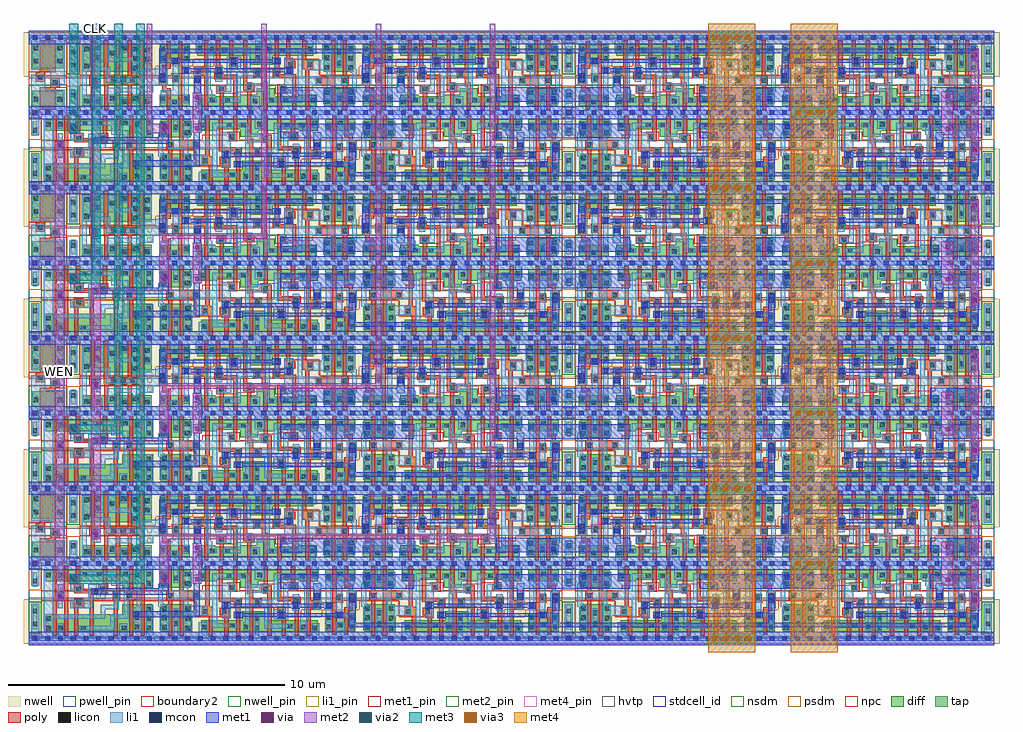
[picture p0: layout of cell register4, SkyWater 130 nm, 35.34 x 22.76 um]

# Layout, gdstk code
from math import pi, radians
import gdstk
lib = gdstk.Library(unit=1e-6, precision=1e-09)
def R(c, l, rs):  # rectangles x0, y0, x1, y1
    for r in rs: c.add(gdstk.rectangle(r[:2], r[2:], *l))
def A(c, l, x, y, w, h, nx, ny, dx, dy):  # array of equal rectangles
    R(c, l, [(x+i*dx, y+j*dy, x+i*dx+w, y+j*dy+h) for i in range(nx) for j in range(ny)])
def P(c, l, *ps):  # polygons
    for p in ps: c.add(gdstk.Polygon(p, *l))
nwell_pin = (64, 16)
nwell = (64, 20)
diff = (65, 20)
tap = (65, 44)
poly = (66, 20)
licon = (66, 44)
li1_pin = (67, 16)
li1 = (67, 20)
mcon = (67, 44)
met1_pin = (68, 16)
met1 = (68, 20)
via = (68, 44)
met2_pin = (69, 16)
met2 = (69, 20)
via2 = (69, 44)
met3 = (70, 20)
via3 = (70, 44)
met4_pin = (71, 16)
met4 = (71, 20)
hvtp = (78, 44)
stdcell_id = (81, 4)
nsdm = (93, 44)
psdm = (94, 20)
npc = (95, 20)
pwell_pin = (122, 16)
boundary2 = (236, 0)

sky130_fd_sc_hd__clkbuf_ = lib.new_cell('sky130_fd_sc_hd__clkbuf_4')
R(sky130_fd_sc_hd__clkbuf_, nwell_pin, [(0.145,2.635,0.315,2.805)])
R(sky130_fd_sc_hd__clkbuf_, nwell, [(-0.19,1.305,2.95,2.91)])
R(sky130_fd_sc_hd__clkbuf_, diff, [(0.135,0.235,2.615,0.655), (0.135,1.485,2.62,2.485)])
P(sky130_fd_sc_hd__clkbuf_, poly, [(2.325,1.185),(2.32,1.185),(2.32,2.615),(2.17,2.615),(2.17,1.295),(1.89,1.295),(1.89,2.615),(1.74,2.615),(1.74,1.295),(1.46,1.295),(1.46,2.615),(1.31,2.615),(1.31,1.295),(1.03,1.295),(1.03,2.615),(0.88,2.615),(0.88,1.05),(0.885,1.05),(0.885,0.105),(1.035,0.105),(1.035,1.02),(1.315,1.02),(1.315,0.105),(1.465,0.105),(1.465,1.02),(1.745,1.02),(1.745,0.105),(1.895,0.105),(1.895,1.02),(2.175,1.02),(2.175,0.105),(2.325,0.105)],
  [(0.645,1.325),(0.55,1.325),(0.55,2.615),(0.4,2.615),(0.4,1.325),(0.345,1.325),(0.345,0.995),(0.4,0.995),(0.4,0.105),(0.55,0.105),(0.55,0.995),(0.645,0.995)])
A(sky130_fd_sc_hd__clkbuf_, licon, 1.155, 1.075, 0.17, 0.17, 3, 1, 0.34, 0)
A(sky130_fd_sc_hd__clkbuf_, licon, 1.945, 1.535, 0.17, 0.17, 1, 3, 0, 0.34)
R(sky130_fd_sc_hd__clkbuf_, licon, [(0.605,0.315,0.775,0.485), (1.52,0.315,1.69,0.485), (2.38,0.315,2.55,0.485), (0.175,0.335,0.345,0.505), (1.09,0.425,1.26,0.595), (1.95,0.425,2.12,0.595), (0.425,1.075,0.595,1.245), (0.175,1.605,0.345,1.775), (2.375,1.845,2.545,2.015), (0.605,1.915,0.775,2.085), (1.085,2.08,1.255,2.25), (2.375,2.185,2.545,2.355), (0.175,2.215,0.345,2.385), (0.605,2.255,0.775,2.425), (1.515,2.255,1.685,2.425)])
R(sky130_fd_sc_hd__clkbuf_, li1_pin, [(0.605,0.765,0.775,0.935), (2.445,0.765,2.615,0.935), (0.605,1.105,0.775,1.275), (2.445,1.105,2.615,1.275), (1.985,1.445,2.155,1.615)])
R(sky130_fd_sc_hd__clkbuf_, li1, [(0.425,0.755,0.775,1.325)])
P(sky130_fd_sc_hd__clkbuf_, li1, [(2.76,0.085),(2.615,0.085),(2.615,0.565),(2.335,0.565),(2.335,0.085),(1.73,0.085),(1.73,0.565),(1.475,0.565),(1.475,0.085),(0.83,0.085),(0.83,0.565),(0.555,0.565),(0.555,0.085),(0,0.085),(0,-0.085),(2.76,-0.085)],
  [(2.66,1.585),(2.165,1.585),(2.165,2.465),(1.905,2.465),(1.905,2.005),(1.305,2.005),(1.305,2.465),(1.045,2.465),(1.045,1.835),(1.905,1.835),(1.905,1.415),(2.255,1.415),(2.255,0.905),(1.01,0.905),(1.01,0.345),(1.305,0.345),(1.305,0.735),(1.905,0.735),(1.905,0.345),(2.165,0.345),(2.165,0.735),(2.66,0.735)],
  [(2.085,1.245),(1.115,1.245),(1.115,1.665),(0.395,1.665),(0.395,2.465),(0.085,2.465),(0.085,0.255),(0.385,0.255),(0.385,0.585),(0.255,0.585),(0.255,1.495),(0.945,1.495),(0.945,1.075),(2.085,1.075)],
  [(2.76,2.805),(0,2.805),(0,2.635),(0.565,2.635),(0.565,1.835),(0.875,1.835),(0.875,2.635),(1.475,2.635),(1.475,2.175),(1.73,2.175),(1.73,2.635),(2.335,2.635),(2.335,1.765),(2.62,1.765),(2.62,2.635),(2.76,2.635)])
A(sky130_fd_sc_hd__clkbuf_, mcon, 0.145, -0.085, 0.17, 0.17, 6, 2, 0.46, 2.72)
R(sky130_fd_sc_hd__clkbuf_, met1_pin, [(0.145,-0.085,0.315,0.085), (0.145,2.635,0.315,2.805)])
R(sky130_fd_sc_hd__clkbuf_, hvtp, [(0,1.25,2.76,2.72)])
R(sky130_fd_sc_hd__clkbuf_, stdcell_id, [(0,0,2.76,2.72)])
R(sky130_fd_sc_hd__clkbuf_, nsdm, [(0,-0.19,2.76,1.015)])
R(sky130_fd_sc_hd__clkbuf_, psdm, [(0,1.355,2.76,2.91)])
R(sky130_fd_sc_hd__clkbuf_, npc, [(0,0.975,2.76,1.345)])
R(sky130_fd_sc_hd__clkbuf_, pwell_pin, [(0.145,-0.085,0.315,0.085)])
R(sky130_fd_sc_hd__clkbuf_, boundary2, [(0,0,2.76,2.72)])
sky130_fd_sc_hd__clkbuf_.add(gdstk.FlexPath([(0,0),(2.76,0)], 0.48, ends="flush", simple_path=True, layer=68, datatype=20))  # met1
sky130_fd_sc_hd__clkbuf_.add(gdstk.FlexPath([(0,2.72),(2.76,2.72)], 0.48, ends="flush", simple_path=True, layer=68, datatype=20))  # met1
sky130_fd_sc_hd__clkbuf_.add(gdstk.Label('X', (2.07,1.53), layer=67, texttype=5))
sky130_fd_sc_hd__clkbuf_.add(gdstk.Label('A', (0.69,0.85), layer=67, texttype=5))
sky130_fd_sc_hd__clkbuf_.add(gdstk.Label('X', (2.53,0.85), layer=67, texttype=5))
sky130_fd_sc_hd__clkbuf_.add(gdstk.Label('A', (0.69,1.19), layer=67, texttype=5))
sky130_fd_sc_hd__clkbuf_.add(gdstk.Label('X', (2.53,1.19), layer=67, texttype=5))
sky130_fd_sc_hd__clkbuf_.add(gdstk.Label('VGND', (0.23,0), layer=68, texttype=5))
sky130_fd_sc_hd__clkbuf_.add(gdstk.Label('VPWR', (0.23,2.72), layer=68, texttype=5))
sky130_fd_sc_hd__clkbuf_.add(gdstk.Label('VPB', (0.23,2.72), layer=64, texttype=5))
sky130_fd_sc_hd__clkbuf_.add(gdstk.Label('VNB', (0.23,0), layer=64, texttype=59))
sky130_fd_sc_hd__clkbuf_.add(gdstk.Label('clkbuf_4', (0,0), layer=83, texttype=44))

sky130_fd_sc_hd__decap_3 = lib.new_cell('sky130_fd_sc_hd__decap_3')
R(sky130_fd_sc_hd__decap_3, nwell_pin, [(0.145,2.635,0.315,2.805)])
R(sky130_fd_sc_hd__decap_3, nwell, [(-0.19,1.305,1.57,2.91)])
R(sky130_fd_sc_hd__decap_3, diff, [(0.135,0.235,1.245,0.785), (0.135,1.615,1.245,2.485)])
P(sky130_fd_sc_hd__decap_3, poly, [(1.125,1.255),(0.795,1.255),(0.795,0.915),(0.395,0.915),(0.395,0.105),(0.985,0.105),(0.985,0.925),(1.125,0.925)],
  [(0.985,2.615),(0.395,2.615),(0.395,1.455),(0.255,1.455),(0.255,1.125),(0.585,1.125),(0.585,1.465),(0.985,1.465)])
R(sky130_fd_sc_hd__decap_3, licon, [(0.175,0.4,0.345,0.57), (1.035,0.4,1.205,0.57), (0.875,1.005,1.045,1.175), (0.335,1.205,0.505,1.375), (0.175,1.78,0.345,1.95), (1.035,1.78,1.205,1.95), (0.175,2.255,0.345,2.425), (1.035,2.255,1.205,2.425)])
P(sky130_fd_sc_hd__decap_3, li1, [(1.38,2.805),(0,2.805),(0,2.635),(0.085,2.635),(0.085,1.545),(0.775,1.545),(0.775,1.005),(1.295,1.005),(1.295,2.635),(1.38,2.635)],
  [(1.38,0.085),(1.295,0.085),(1.295,0.835),(0.605,0.835),(0.605,1.375),(0.085,1.375),(0.085,0.085),(0,0.085),(0,-0.085),(1.38,-0.085)])
A(sky130_fd_sc_hd__decap_3, mcon, 0.145, -0.085, 0.17, 0.17, 3, 2, 0.46, 2.72)
R(sky130_fd_sc_hd__decap_3, met1_pin, [(0.145,-0.085,0.315,0.085), (0.145,2.635,0.315,2.805)])
R(sky130_fd_sc_hd__decap_3, hvtp, [(0,1.25,1.38,2.72)])
R(sky130_fd_sc_hd__decap_3, stdcell_id, [(0,0,1.38,2.72)])
R(sky130_fd_sc_hd__decap_3, nsdm, [(0,-0.19,1.38,1.015)])
R(sky130_fd_sc_hd__decap_3, psdm, [(0,1.485,1.38,2.91)])
P(sky130_fd_sc_hd__decap_3, npc, [(1.38,1.345),(0.605,1.345),(0.605,1.475),(0,1.475),(0,0.975),(0.775,0.975),(0.775,0.905),(1.38,0.905)])
R(sky130_fd_sc_hd__decap_3, pwell_pin, [(0.145,-0.085,0.315,0.085)])
R(sky130_fd_sc_hd__decap_3, boundary2, [(0,0,1.38,2.72)])
sky130_fd_sc_hd__decap_3.add(gdstk.FlexPath([(0,2.72),(1.38,2.72)], 0.48, ends="flush", simple_path=True, layer=68, datatype=20))  # met1
sky130_fd_sc_hd__decap_3.add(gdstk.FlexPath([(0,0),(1.38,0)], 0.48, ends="flush", simple_path=True, layer=68, datatype=20))  # met1
sky130_fd_sc_hd__decap_3.add(gdstk.Label('VPWR', (0.23,2.72), layer=68, texttype=5))
sky130_fd_sc_hd__decap_3.add(gdstk.Label('VGND', (0.23,0), layer=68, texttype=5))
sky130_fd_sc_hd__decap_3.add(gdstk.Label('VPB', (0.23,2.72), layer=64, texttype=5))
sky130_fd_sc_hd__decap_3.add(gdstk.Label('VNB', (0.23,0), layer=64, texttype=59))
sky130_fd_sc_hd__decap_3.add(gdstk.Label('decap_3', (0,0), layer=83, texttype=44))

sky130_fd_sc_hd__dfxtp_1 = lib.new_cell('sky130_fd_sc_hd__dfxtp_1')
R(sky130_fd_sc_hd__dfxtp_1, nwell_pin, [(0.145,2.635,0.315,2.805), (0.145,2.635,0.315,2.805)])
R(sky130_fd_sc_hd__dfxtp_1, nwell, [(-0.19,1.305,7.55,2.91)])
R(sky130_fd_sc_hd__dfxtp_1, diff, [(0.135,0.235,1.225,0.655), (6.095,0.235,7.185,0.885), (6.075,1.485,7.175,2.485), (0.135,1.815,1.225,2.455)])
P(sky130_fd_sc_hd__dfxtp_1, diff, [(5.71,2.485),(1.495,2.485),(1.495,2.065),(3.395,2.065),(3.395,1.735),(4.23,1.735),(4.23,2.065),(5.71,2.065)],
  [(5.82,0.655),(5.16,0.655),(5.16,0.595),(4.3,0.595),(4.3,0.875),(3.65,0.875),(3.65,0.655),(3.055,0.655),(3.055,0.595),(2.155,0.595),(2.155,0.655),(1.495,0.655),(1.495,0.235),(5.82,0.235)])
P(sky130_fd_sc_hd__dfxtp_1, poly, [(3.54,1.065),(3.32,1.065),(3.32,2.615),(3.17,2.615),(3.17,0.795),(3.305,0.795),(3.305,0.105),(3.455,0.105),(3.455,0.795),(3.54,0.795)],
  [(2.545,1.005),(2.215,1.005),(2.215,0.735),(2.315,0.735),(2.315,0.105),(2.465,0.105),(2.465,0.735),(2.545,0.735)],
  [(1.905,2.615),(1.755,2.615),(1.755,1.665),(1.43,1.665),(1.43,1.335),(1.755,1.335),(1.755,0.105),(1.905,0.105)],
  [(2.96,1.365),(2.445,1.365),(2.445,1.485),(2.33,1.485),(2.33,2.615),(2.18,2.615),(2.18,1.485),(2.115,1.485),(2.115,1.215),(2.81,1.215),(2.81,0.105),(2.96,0.105)],
  [(2.96,1.905),(2.805,1.905),(2.805,2.615),(2.655,2.615),(2.655,1.575),(2.96,1.575)],
  [(5.7,1.905),(5.445,1.905),(5.445,2.615),(5.295,2.615),(5.295,1.575),(5.41,1.575),(5.41,0.105),(5.56,0.105),(5.56,1.575),(5.7,1.575)],
  [(5.05,1.875),(4.875,1.875),(4.875,2.615),(4.725,2.615),(4.725,1.875),(4.72,1.875),(4.72,1.605),(5.05,1.605)],
  [(0.965,2.585),(0.815,2.585),(0.815,1.37),(0.59,1.37),(0.59,1.1),(0.815,1.1),(0.815,0.105),(0.965,0.105)],
  [(5.085,1.395),(4.51,1.395),(4.51,1.575),(4.455,1.575),(4.455,2.615),(4.305,2.615),(4.305,1.575),(4.24,1.575),(4.24,1.245),(4.935,1.245),(4.935,0.105),(5.085,0.105)],
  [(0.545,0.88),(0.38,0.88),(0.38,1.59),(0.545,1.59),(0.545,2.585),(0.395,2.585),(0.395,1.74),(0.23,1.74),(0.23,1.325),(0.11,1.325),(0.11,0.995),(0.23,0.995),(0.23,0.73),(0.395,0.73),(0.395,0.105),(0.545,0.105)],
  [(6.985,1.325),(6.915,1.325),(6.915,2.615),(6.765,2.615),(6.765,1.325),(6.715,1.325),(6.715,0.995),(6.775,0.995),(6.775,0.105),(6.925,0.105),(6.925,0.995),(6.985,0.995)],
  [(6.505,1.325),(6.495,1.325),(6.495,2.615),(6.345,2.615),(6.345,1.325),(5.795,1.325),(5.795,0.995),(6.355,0.995),(6.355,0.105),(6.505,0.105)],
  [(4.725,1.035),(4.405,1.035),(4.405,0.105),(4.555,0.105),(4.555,0.705),(4.725,0.705)],
  [(4.05,1.1),(3.98,1.1),(3.98,2.615),(3.83,2.615),(3.83,1.545),(3.53,1.545),(3.53,1.275),(3.83,1.275),(3.83,0.95),(3.9,0.95),(3.9,0.105),(4.05,0.105)])
A(sky130_fd_sc_hd__dfxtp_1, licon, 6.115, 1.545, 0.17, 0.17, 1, 3, 0, 0.355)
A(sky130_fd_sc_hd__dfxtp_1, licon, 6.965, 1.545, 0.17, 0.17, 1, 3, 0, 0.34)
R(sky130_fd_sc_hd__dfxtp_1, licon, [(0.595,0.295,0.765,0.465), (1.535,0.295,1.705,0.465), (6.135,0.3,6.305,0.47), (6.975,0.31,7.145,0.48), (3.51,0.335,3.68,0.505), (1.96,0.365,2.13,0.535), (2.515,0.365,2.685,0.535), (4.105,0.365,4.275,0.535), (4.62,0.365,4.79,0.535), (5.61,0.365,5.78,0.535), (0.175,0.425,0.345,0.595), (1.015,0.425,1.185,0.595), (6.555,0.445,6.725,0.615), (6.135,0.64,6.305,0.81), (6.975,0.65,7.145,0.82), (2.295,0.785,2.465,0.955), (4.505,0.785,4.675,0.955), (3.29,0.845,3.46,1.015), (0.16,1.075,0.33,1.245), (5.845,1.075,6.015,1.245), (6.765,1.075,6.935,1.245), (0.67,1.15,0.84,1.32), (2.195,1.265,2.365,1.435), (3.61,1.325,3.78,1.495), (4.29,1.325,4.46,1.495), (1.48,1.415,1.65,1.585), (2.74,1.655,2.91,1.825), (4.8,1.655,4.97,1.825), (5.48,1.655,5.65,1.825), (6.545,1.705,6.715,1.875), (0.175,1.875,0.345,2.045), (1.015,1.875,1.185,2.045), (3.61,1.915,3.78,2.085), (6.545,2.105,6.715,2.275), (0.595,2.135,0.765,2.305), (4.505,2.165,4.675,2.335), (2.415,2.19,2.585,2.36), (0.175,2.215,0.345,2.385), (1.015,2.215,1.185,2.385), (1.955,2.215,2.125,2.385), (4.03,2.215,4.2,2.385), (5.5,2.215,5.67,2.385), (1.535,2.255,1.705,2.425), (3.61,2.255,3.78,2.425)])
R(sky130_fd_sc_hd__dfxtp_1, li1_pin, [(6.95,0.425,7.12,0.595), (0.145,1.105,0.315,1.275), (1.445,1.105,1.615,1.275)])
R(sky130_fd_sc_hd__dfxtp_1, li1, [(1.015,0.345,1.2,2.465), (1.37,0.715,1.65,1.665), (0.09,0.975,0.44,1.625), (2.16,1.125,2.4,1.72), (4.29,1.245,4.48,1.965)])
P(sky130_fd_sc_hd__dfxtp_1, li1, [(6.015,1.325),(5.31,1.325),(5.31,2.335),(4.425,2.335),(4.425,2.165),(5.14,2.165),(5.14,0.535),(4.525,0.535),(4.525,0.365),(5.31,0.365),(5.31,0.995),(6.015,0.995)],
  [(6.935,1.325),(6.375,1.325),(6.375,2.465),(6.035,2.465),(6.035,1.905),(5.48,1.905),(5.48,1.53),(6.185,1.53),(6.185,0.825),(6.055,0.825),(6.055,0.3),(6.385,0.3),(6.385,0.995),(6.935,0.995)],
  [(7.275,1.575),(7.215,1.575),(7.215,2.42),(6.885,2.42),(6.885,1.495),(7.06,1.495),(7.06,1.445),(7.105,1.445),(7.105,0.865),(7.05,0.865),(7.05,0.825),(6.895,0.825),(6.895,0.305),(7.225,0.305),(7.225,0.74),(7.275,0.74)],
  [(4.97,1.995),(4.65,1.995),(4.65,1.035),(4.505,1.035),(4.505,0.705),(4.97,0.705)],
  [(0.84,1.965),(0.345,1.965),(0.345,2.465),(0.175,2.465),(0.175,1.795),(0.61,1.795),(0.61,0.805),(0.175,0.805),(0.175,0.345),(0.345,0.345),(0.345,0.635),(0.84,0.635)],
  [(7.36,2.805),(0,2.805),(0,2.635),(0.515,2.635),(0.515,2.135),(0.845,2.135),(0.845,2.635),(1.44,2.635),(1.44,2.175),(1.705,2.175),(1.705,2.635),(3.61,2.635),(3.61,1.835),(3.78,1.835),(3.78,2.635),(5.49,2.635),(5.49,2.135),(5.805,2.135),(5.805,2.635),(6.545,2.635),(6.545,1.625),(6.715,1.625),(6.715,2.635),(7.36,2.635)],
  [(7.36,0.085),(6.725,0.085),(6.725,0.695),(6.555,0.695),(6.555,0.085),(5.795,0.085),(5.795,0.615),(5.585,0.615),(5.585,0.085),(3.77,0.085),(3.77,0.585),(3.4,0.585),(3.4,0.085),(1.705,0.085),(1.705,0.545),(1.455,0.545),(1.455,0.085),(0.845,0.085),(0.845,0.465),(0.515,0.465),(0.515,0.085),(0,0.085),(0,-0.085),(7.36,-0.085)],
  [(2.21,0.535),(2.045,0.535),(2.045,0.805),(1.99,0.805),(1.99,1.91),(2.125,1.91),(2.125,2.465),(1.875,2.465),(1.875,2.04),(1.82,2.04),(1.82,0.675),(1.875,0.675),(1.875,0.365),(2.21,0.365)],
  [(3.1,2.02),(2.57,2.02),(2.57,0.955),(2.215,0.955),(2.215,0.735),(2.74,0.735),(2.74,1.655),(3.1,1.655)],
  [(3.78,1.575),(3.44,1.575),(3.44,2.36),(2.335,2.36),(2.335,2.19),(3.27,2.19),(3.27,1.485),(2.91,1.485),(2.91,0.535),(2.405,0.535),(2.405,0.365),(3.08,0.365),(3.08,1.315),(3.61,1.315),(3.61,1.245),(3.78,1.245)],
  [(4.355,0.535),(4.12,0.535),(4.12,2.135),(4.2,2.135),(4.2,2.465),(3.95,2.465),(3.95,1.065),(3.49,1.065),(3.49,1.095),(3.29,1.095),(3.29,0.765),(3.95,0.765),(3.95,0.365),(4.355,0.365)])
A(sky130_fd_sc_hd__dfxtp_1, mcon, 0.145, -0.085, 0.17, 0.17, 16, 2, 0.46, 2.72)
R(sky130_fd_sc_hd__dfxtp_1, mcon, [(1.025,1.445,1.195,1.615), (2.215,1.445,2.385,1.615), (4.735,1.445,4.905,1.615), (0.63,1.785,0.8,1.955), (2.73,1.785,2.9,1.955), (4.3,1.785,4.47,1.955)])
R(sky130_fd_sc_hd__dfxtp_1, met1_pin, [(0.145,-0.085,0.315,0.085), (0.145,2.635,0.315,2.805)])
R(sky130_fd_sc_hd__dfxtp_1, met1, [(0,-0.24,7.36,0.24), (0,2.48,7.36,2.96)])
P(sky130_fd_sc_hd__dfxtp_1, met1, [(4.53,1.985),(4.24,1.985),(4.24,1.94),(2.96,1.94),(2.96,1.985),(2.67,1.985),(2.67,1.94),(0.86,1.94),(0.86,1.985),(0.57,1.985),(0.57,1.755),(0.86,1.755),(0.86,1.8),(2.67,1.8),(2.67,1.755),(2.96,1.755),(2.96,1.8),(4.24,1.8),(4.24,1.755),(4.53,1.755)],
  [(4.965,1.645),(4.675,1.645),(4.675,1.6),(2.445,1.6),(2.445,1.645),(2.155,1.645),(2.155,1.6),(1.255,1.6),(1.255,1.645),(0.965,1.645),(0.965,1.415),(1.255,1.415),(1.255,1.46),(2.155,1.46),(2.155,1.415),(2.445,1.415),(2.445,1.46),(4.675,1.46),(4.675,1.415),(4.965,1.415)])
R(sky130_fd_sc_hd__dfxtp_1, hvtp, [(0,1.25,7.36,2.72)])
R(sky130_fd_sc_hd__dfxtp_1, stdcell_id, [(0,0,7.36,2.72)])
R(sky130_fd_sc_hd__dfxtp_1, nsdm, [(0,-0.19,7.36,1.015)])
P(sky130_fd_sc_hd__dfxtp_1, psdm, [(7.36,2.91),(0,2.91),(0,1.685),(1.35,1.685),(1.35,1.935),(3.24,1.935),(3.24,1.605),(4.665,1.605),(4.665,1.935),(5.93,1.935),(5.93,1.355),(7.36,1.355)])
P(sky130_fd_sc_hd__dfxtp_1, npc, [(7.36,1.345),(5.91,1.345),(5.91,1.925),(4.675,1.925),(4.675,1.595),(3.085,1.595),(3.085,1.925),(2.095,1.925),(2.095,1.685),(1.38,1.685),(1.38,1.42),(0.565,1.42),(0.565,1.345),(0,1.345),(0,0.975),(2.195,0.975),(2.195,0.685),(2.905,0.685),(2.905,0.745),(3.59,0.745),(3.59,0.975),(4.32,0.975),(4.32,0.685),(4.775,0.685),(4.775,0.795),(5.675,0.795),(5.675,0.975),(7.36,0.975)])
R(sky130_fd_sc_hd__dfxtp_1, pwell_pin, [(0.145,-0.085,0.315,0.085), (0.145,-0.085,0.315,0.085)])
R(sky130_fd_sc_hd__dfxtp_1, boundary2, [(0,0,7.36,2.72)])
sky130_fd_sc_hd__dfxtp_1.add(gdstk.Label('dfxtp_1', (0,0), layer=83, texttype=44))
sky130_fd_sc_hd__dfxtp_1.add(gdstk.Label('VPB', (0.23,2.72), layer=64, texttype=5))
sky130_fd_sc_hd__dfxtp_1.add(gdstk.Label('VPB', (0.23,2.72), layer=64, texttype=5))
sky130_fd_sc_hd__dfxtp_1.add(gdstk.Label('VNB', (0.23,0), layer=64, texttype=59))
sky130_fd_sc_hd__dfxtp_1.add(gdstk.Label('VNB', (0.23,0), layer=64, texttype=59))
sky130_fd_sc_hd__dfxtp_1.add(gdstk.Label('Q', (7.035,0.51), layer=67, texttype=5))
sky130_fd_sc_hd__dfxtp_1.add(gdstk.Label('CLK', (0.23,1.19), layer=67, texttype=5))
sky130_fd_sc_hd__dfxtp_1.add(gdstk.Label('D', (1.535,1.19), layer=67, texttype=5))
sky130_fd_sc_hd__dfxtp_1.add(gdstk.Label('VPWR', (0.23,2.72), layer=68, texttype=5))
sky130_fd_sc_hd__dfxtp_1.add(gdstk.Label('VGND', (0.23,0), layer=68, texttype=5))

sky130_fd_sc_hd__mux2_2 = lib.new_cell('sky130_fd_sc_hd__mux2_2')
R(sky130_fd_sc_hd__mux2_2, nwell_pin, [(0.15,2.635,0.32,2.805)])
R(sky130_fd_sc_hd__mux2_2, nwell, [(-0.19,1.305,4.33,2.91)])
P(sky130_fd_sc_hd__mux2_2, diff, [(4.005,0.655),(1.215,0.655),(1.215,0.885),(0.135,0.885),(0.135,0.235),(4.005,0.235)],
  [(4.005,2.485),(0.135,2.485),(0.135,1.485),(1.215,1.485),(1.215,1.845),(4.005,1.845)])
P(sky130_fd_sc_hd__mux2_2, poly, [(3.735,2.615),(3.585,2.615),(3.585,1.325),(3.315,1.325),(3.315,2.615),(3.165,2.615),(3.165,0.105),(3.315,0.105),(3.315,0.995),(3.585,0.995),(3.585,0.105),(3.735,0.105)],
  [(2.955,1.075),(2.395,1.075),(2.395,2.615),(2.245,2.615),(2.245,0.925),(2.625,0.925),(2.625,0.805),(2.74,0.805),(2.74,0.105),(2.89,0.105),(2.89,0.805),(2.955,0.805)],
  [(2.955,2.615),(2.805,2.615),(2.805,1.555),(2.625,1.555),(2.625,1.285),(2.955,1.285)],
  [(2.035,1.095),(1.765,1.095),(1.765,0.105),(1.915,0.105),(1.915,0.765),(2.035,0.765)],
  [(1.555,1.325),(1.53,1.325),(1.53,2.615),(1.38,2.615),(1.38,1.325),(1.285,1.325),(1.285,0.995),(1.29,0.995),(1.29,0.105),(1.44,0.105),(1.44,0.995),(1.555,0.995)],
  [(1.075,1.325),(0.965,1.325),(0.965,2.615),(0.815,2.615),(0.815,1.325),(0.545,1.325),(0.545,2.615),(0.395,2.615),(0.395,0.105),(0.545,0.105),(0.545,0.995),(0.815,0.995),(0.815,0.105),(0.965,0.105),(0.965,0.995),(1.075,0.995)])
A(sky130_fd_sc_hd__mux2_2, licon, 0.175, 1.575, 0.17, 0.17, 1, 3, 0, 0.34)
R(sky130_fd_sc_hd__mux2_2, licon, [(0.175,0.295,0.345,0.465), (1.015,0.295,1.185,0.465), (1.965,0.295,2.135,0.465), (2.48,0.295,2.65,0.465), (0.595,0.335,0.765,0.505), (3.365,0.335,3.535,0.505), (3.795,0.335,3.965,0.505), (0.175,0.635,0.345,0.805), (1.815,0.845,1.985,1.015), (2.705,0.855,2.875,1.025), (0.855,1.075,1.025,1.245), (1.335,1.075,1.505,1.245), (3.37,1.075,3.54,1.245), (2.705,1.335,2.875,1.505), (0.595,1.875,0.765,2.045), (3.795,1.915,3.965,2.085), (0.595,2.215,0.765,2.385), (1.065,2.255,1.235,2.425), (2.545,2.255,2.715,2.425), (3.365,2.255,3.535,2.425), (3.795,2.255,3.965,2.425)])
A(sky130_fd_sc_hd__mux2_2, li1_pin, 2.45, 1.445, 0.17, 0.17, 3, 1, 0.46, 0)
R(sky130_fd_sc_hd__mux2_2, li1_pin, [(2.91,0.425,3.08,0.595), (1.99,0.765,2.16,0.935), (2.91,0.765,3.08,0.935), (3.37,0.765,3.54,0.935), (1.99,1.105,2.16,1.275), (3.37,1.105,3.54,1.275), (0.61,1.785,0.78,1.955), (0.61,2.125,0.78,2.295)])
R(sky130_fd_sc_hd__mux2_2, li1, [(3.36,0.755,3.55,1.625)])
P(sky130_fd_sc_hd__mux2_2, li1, [(3.09,1.625),(2.275,1.625),(2.275,1.28),(1.815,1.28),(1.815,0.765),(2.445,0.765),(2.445,1.315),(3.09,1.315)],
  [(3.09,1.025),(2.625,1.025),(2.625,0.735),(2.9,0.735),(2.9,0.42),(3.09,0.42)],
  [(4.14,0.085),(3.55,0.085),(3.55,0.585),(3.35,0.585),(3.35,0.085),(1.265,0.085),(1.265,0.465),(0.935,0.465),(0.935,0.085),(0.345,0.085),(0.345,0.885),(0.09,0.885),(0.09,0.085),(0,0.085),(0,-0.085),(4.14,-0.085)],
  [(4.14,2.805),(0,2.805),(0,2.635),(0.09,2.635),(0.09,1.495),(0.345,1.495),(0.345,2.635),(1.025,2.635),(1.025,2.175),(1.315,2.175),(1.315,2.635),(3.325,2.635),(3.325,2.175),(3.545,2.175),(3.545,2.635),(4.14,2.635)],
  [(4.05,2.465),(3.715,2.465),(3.715,2.005),(1.825,2.005),(1.825,1.665),(1.335,1.665),(1.335,0.995),(1.505,0.995),(1.505,1.495),(1.995,1.495),(1.995,1.835),(3.72,1.835),(3.72,0.255),(4.05,0.255)],
  [(2.795,2.425),(1.485,2.425),(1.485,2.005),(0.995,2.005),(0.995,1.325),(0.855,1.325),(0.855,0.995),(0.995,0.995),(0.995,0.635),(1.435,0.635),(1.435,0.295),(2.73,0.295),(2.73,0.465),(1.605,0.465),(1.605,0.805),(1.165,0.805),(1.165,1.835),(1.655,1.835),(1.655,2.255),(2.795,2.255)],
  [(0.825,2.465),(0.515,2.465),(0.515,0.255),(0.765,0.255),(0.765,0.75),(0.685,0.75),(0.685,1.595),(0.825,1.595)])
A(sky130_fd_sc_hd__mux2_2, mcon, 0.145, -0.085, 0.17, 0.17, 9, 2, 0.46, 2.72)
R(sky130_fd_sc_hd__mux2_2, met1_pin, [(0.15,-0.085,0.32,0.085), (0.15,2.635,0.32,2.805)])
R(sky130_fd_sc_hd__mux2_2, hvtp, [(0,1.25,4.14,2.72)])
R(sky130_fd_sc_hd__mux2_2, stdcell_id, [(0,0,4.14,2.72)])
R(sky130_fd_sc_hd__mux2_2, nsdm, [(0,-0.19,4.14,1.015)])
P(sky130_fd_sc_hd__mux2_2, psdm, [(4.14,2.91),(0,2.91),(0,1.355),(2.595,1.355),(2.595,1.615),(2.985,1.615),(2.985,1.355),(4.14,1.355)])
P(sky130_fd_sc_hd__mux2_2, npc, [(4.14,1.345),(2.975,1.345),(2.975,1.605),(2.605,1.605),(2.605,1.345),(0,1.345),(0,0.975),(1.715,0.975),(1.715,0.745),(2.085,0.745),(2.085,0.975),(2.605,0.975),(2.605,0.755),(2.975,0.755),(2.975,0.975),(4.14,0.975)])
R(sky130_fd_sc_hd__mux2_2, pwell_pin, [(0.15,-0.085,0.32,0.085)])
R(sky130_fd_sc_hd__mux2_2, boundary2, [(0,0,4.14,2.72)])
sky130_fd_sc_hd__mux2_2.add(gdstk.FlexPath([(0,2.72),(4.14,2.72)], 0.48, ends="flush", simple_path=True, layer=68, datatype=20))  # met1
sky130_fd_sc_hd__mux2_2.add(gdstk.FlexPath([(0,0),(4.14,0)], 0.48, ends="flush", simple_path=True, layer=68, datatype=20))  # met1
sky130_fd_sc_hd__mux2_2.add(gdstk.Label('VGND', (0.235,0), layer=68, texttype=5))
sky130_fd_sc_hd__mux2_2.add(gdstk.Label('VPWR', (0.235,2.72), layer=68, texttype=5))
sky130_fd_sc_hd__mux2_2.add(gdstk.Label('A1', (2.995,0.85), layer=67, texttype=5))
sky130_fd_sc_hd__mux2_2.add(gdstk.Label('A0', (2.535,1.53), layer=67, texttype=5))
sky130_fd_sc_hd__mux2_2.add(gdstk.Label('A0', (2.075,1.19), layer=67, texttype=5))
sky130_fd_sc_hd__mux2_2.add(gdstk.Label('A0', (2.075,0.85), layer=67, texttype=5))
sky130_fd_sc_hd__mux2_2.add(gdstk.Label('S', (3.455,0.85), layer=67, texttype=5))
sky130_fd_sc_hd__mux2_2.add(gdstk.Label('A1', (2.995,0.51), layer=67, texttype=5))
sky130_fd_sc_hd__mux2_2.add(gdstk.Label('X', (0.695,2.21), layer=67, texttype=5))
sky130_fd_sc_hd__mux2_2.add(gdstk.Label('X', (0.695,1.87), layer=67, texttype=5))
sky130_fd_sc_hd__mux2_2.add(gdstk.Label('A0', (2.995,1.53), layer=67, texttype=5))
sky130_fd_sc_hd__mux2_2.add(gdstk.Label('S', (3.455,1.53), layer=67, texttype=5))
sky130_fd_sc_hd__mux2_2.add(gdstk.Label('S', (3.455,1.19), layer=67, texttype=5))
sky130_fd_sc_hd__mux2_2.add(gdstk.Label('VPB', (0.235,2.72), layer=64, texttype=5))
sky130_fd_sc_hd__mux2_2.add(gdstk.Label('VNB', (0.235,0), layer=64, texttype=59))
sky130_fd_sc_hd__mux2_2.add(gdstk.Label('mux2_2', (0,0), layer=83, texttype=44))

sky130_fd_sc_hd__tapvpwr = lib.new_cell('sky130_fd_sc_hd__tapvpwrvgnd_1')
R(sky130_fd_sc_hd__tapvpwr, nwell, [(-0.19,1.305,0.65,2.91)])
R(sky130_fd_sc_hd__tapvpwr, tap, [(0.145,0.32,0.315,0.845), (0.145,1.525,0.315,2.4)])
R(sky130_fd_sc_hd__tapvpwr, licon, [(0.145,0.555,0.315,0.725), (0.145,1.645,0.315,1.815), (0.145,2.11,0.315,2.28)])
R(sky130_fd_sc_hd__tapvpwr, li1, [(0,-0.085,0.46,0.085), (0.085,0,0.375,0.81), (0.085,1.47,0.375,2.72), (0,2.635,0.46,2.805)])
R(sky130_fd_sc_hd__tapvpwr, mcon, [(0.145,-0.085,0.315,0.085), (0.145,2.635,0.315,2.805)])
R(sky130_fd_sc_hd__tapvpwr, met1_pin, [(0.105,-0.09,0.36,0.1), (0.11,2.62,0.375,2.765)])
R(sky130_fd_sc_hd__tapvpwr, met1, [(0,-0.24,0.46,0.24), (0,2.48,0.46,2.96)])
R(sky130_fd_sc_hd__tapvpwr, hvtp, [(0,1.25,0.46,2.72)])
R(sky130_fd_sc_hd__tapvpwr, stdcell_id, [(0,0,0.46,2.72)])
R(sky130_fd_sc_hd__tapvpwr, nsdm, [(0,-0.19,0.46,0.19), (0,1.395,0.46,2.53)])
R(sky130_fd_sc_hd__tapvpwr, psdm, [(0,0.19,0.46,0.975), (0,2.53,0.46,2.91)])
sky130_fd_sc_hd__tapvpwr.add(gdstk.Label('VPWR', (0.23,2.72), layer=68, texttype=5))
sky130_fd_sc_hd__tapvpwr.add(gdstk.Label('VGND', (0.23,0), layer=68, texttype=5))
sky130_fd_sc_hd__tapvpwr.add(gdstk.Label('tapvpwrvgnd_1', (0,0), layer=83, texttype=44))

register = lib.new_cell('register')
R(register, li1, [(-0.77,0.79,-0.59,0.96), (7.02,1.2,7.21,1.54), (14.38,1.2,14.57,1.54), (22.2,1.2,22.39,1.54), (29.56,1.2,29.75,1.54), (-3.54,1.44,-3.37,1.61), (5.75,1.46,5.92,1.63), (13.11,1.46,13.28,1.63), (20.93,1.46,21.1,1.63), (28.29,1.46,28.46,1.63), (-2.28,1.62,-2.06,1.79), (-3.08,2.12,-2.91,2.29), (0.24,2.12,0.41,2.29), (7.6,2.12,7.77,2.29), (15.42,2.12,15.59,2.29), (22.78,2.12,22.95,2.29), (6.96,3.15,7.13,3.32), (14.32,3.15,14.49,3.32), (22.14,3.15,22.31,3.32), (29.5,3.15,29.67,3.32), (-2.28,3.66,-2.06,3.83), (-0.1,3.695,0.09,4.305), (1.43,3.81,1.6,3.98), (8.79,3.81,8.96,3.98), (16.61,3.81,16.78,3.98), (23.97,3.81,24.14,3.98), (0.15,3.9,0.34,4.24), (7.51,3.9,7.7,4.24), (15.33,3.9,15.52,4.24), (22.69,3.9,22.88,4.24)])
R(register, mcon, [(-0.765,0.79,-0.595,0.96), (7.03,1.285,7.2,1.455), (14.39,1.285,14.56,1.455), (22.21,1.285,22.38,1.455), (29.57,1.285,29.74,1.455), (-3.54,1.44,-3.37,1.61), (5.75,1.46,5.92,1.63), (13.11,1.46,13.28,1.63), (20.93,1.46,21.1,1.63), (28.29,1.46,28.46,1.63), (-2.255,1.62,-2.085,1.79), (-3.08,2.12,-2.91,2.29), (0.24,2.12,0.41,2.29), (7.6,2.12,7.77,2.29), (15.42,2.12,15.59,2.29), (22.78,2.12,22.95,2.29), (6.96,3.15,7.13,3.32), (14.32,3.15,14.49,3.32), (22.14,3.15,22.31,3.32), (29.5,3.15,29.67,3.32), (-2.255,3.66,-2.085,3.83), (1.43,3.81,1.6,3.98), (8.79,3.81,8.96,3.98), (16.61,3.81,16.78,3.98), (23.97,3.81,24.14,3.98), (0.16,3.985,0.33,4.155), (7.52,3.985,7.69,4.155), (15.34,3.985,15.51,4.155), (22.7,3.985,22.87,4.155)])
R(register, met1_pin, [(-3.65,1.35,-3.31,1.69), (-3.14,1.98,-2.8,2.32), (0.13,1.98,0.47,2.32), (-2.34,3.6,-2,3.94)])
A(register, met1, 20.08, -0.14, 0.26, 0.28, 5, 2, 0.32, 5.44)
A(register, met1, 23.08, 2.58, 0.26, 0.28, 5, 1, 0.32, 0)
R(register, met1, [(6.99,0.41,29.79,0.57), (6.99,0.57,7.24,1.6), (14.35,0.57,14.6,1.6), (22.17,0.57,22.42,1.6), (29.5,0.57,29.79,1.6), (-0.83,0.76,1.6,0.99), (1.37,0.99,1.6,1.99), (-3.65,1.35,-3.31,1.69), (5.72,1.4,5.95,1.8), (13.08,1.4,13.31,1.8), (20.9,1.4,21.13,1.8), (28.26,1.4,28.49,1.8), (-2.34,1.59,0.47,1.82), (4.5,1.8,9.36,2.32), (12.32,1.8,17.18,2.32), (19.68,1.8,24.54,2.32), (28.04,1.8,29.9,2.32), (0.13,1.82,0.47,2.32), (-3.14,1.98,-2.8,2.32), (1.34,1.99,1.66,2.31), (1.34,3.12,1.66,3.44), (4.5,3.12,9.36,3.64), (12.32,3.12,17.18,3.64), (19.68,3.12,24.54,3.64), (28.04,3.12,29.9,3.64), (1.4,3.44,1.63,4.04), (-2.34,3.6,-2,3.94), (8.76,3.64,8.99,4.04), (16.58,3.64,16.81,4.04), (23.94,3.64,24.17,4.04), (0.12,3.84,0.37,4.87), (7.48,3.84,7.73,4.87), (15.3,3.84,15.55,4.87), (22.66,3.84,22.91,4.87), (29.5,4.58,29.79,4.87), (0.12,4.87,29.79,5.03)])
A(register, via, 20.135, -0.075, 0.15, 0.15, 5, 2, 0.32, 5.44)
A(register, via, 23.135, 2.645, 0.15, 0.15, 5, 1, 0.32, 0)
R(register, via, [(29.57,1.29,29.72,1.44), (28.595,2.055,28.745,2.205), (1.425,2.075,1.575,2.225), (1.425,3.205,1.575,3.355), (28.595,3.235,28.745,3.385), (29.57,4.73,29.72,4.88)])
R(register, met2, [(20,-0.17,21.7,0.17), (29.5,1.17,29.79,5), (28.44,1.92,28.88,3.5), (1.34,1.99,1.66,3.44), (23,2.55,24.7,2.89), (20,5.27,21.7,5.61)])
A(register, via2, 20.15, -0.1, 0.2, 0.2, 4, 2, 0.4, 5.44)
A(register, via2, 23.15, 2.62, 0.2, 0.2, 4, 1, 0.4, 0)
R(register, met3, [(20,-0.17,21.7,0.17), (23,2.55,24.7,2.89), (20,5.27,21.7,5.61)])
A(register, via3, 20.15, -0.1, 0.2, 0.2, 4, 2, 0.4, 5.44)
A(register, via3, 23.15, 2.62, 0.2, 0.2, 4, 1, 0.4, 0)
R(register, met4_pin, [(20,-0.5,21.7,5.94), (23,-0.5,24.7,5.94)])
R(register, met4, [(20,-0.5,21.7,5.94), (23,-0.5,24.7,5.94)])
R(register, nsdm, [(-0.01,1.71,0.05,2.61), (7.35,1.94,7.41,2.61), (22.53,1.94,22.59,2.61), (-4.13,2.61,-3.23,2.83), (-2.75,2.61,14.67,2.83), (15.23,2.61,29.85,2.83), (-0.02,2.83,0.01,3.5), (7.31,2.83,7.37,3.5), (22.49,2.83,22.55,3.5)])
R(register, psdm, [(-0.01,0.11,0.06,1.36), (7.35,0.14,7.42,1.03), (22.53,0.14,22.6,1.03), (-0.015,4.41,0.01,5.3), (7.3,4.41,7.37,5.3), (22.48,4.41,22.55,5.3)])
register.add(gdstk.Reference(sky130_fd_sc_hd__clkbuf_, (-2.76,2.72)))
register.add(gdstk.Reference(sky130_fd_sc_hd__decap_3, (-4.6,2.72)))
register.add(gdstk.Reference(sky130_fd_sc_hd__dfxtp_1, (0,2.72)))
register.add(gdstk.Reference(sky130_fd_sc_hd__dfxtp_1, (7.36,2.72), rotation=pi))
register.add(gdstk.Reference(sky130_fd_sc_hd__mux2_2, (0,2.72), rotation=pi))
register.add(gdstk.Reference(sky130_fd_sc_hd__tapvpwr, (-3.22,2.72)))
register.add(gdstk.Reference(sky130_fd_sc_hd__tapvpwr, (-4.6,2.72), x_reflection=True))
register.add(gdstk.Reference(sky130_fd_sc_hd__dfxtp_1, (7.36,2.72)))
register.add(gdstk.Reference(sky130_fd_sc_hd__dfxtp_1, (14.72,2.72), rotation=pi))
register.add(gdstk.Reference(sky130_fd_sc_hd__dfxtp_1, (15.18,2.72)))
register.add(gdstk.Reference(sky130_fd_sc_hd__dfxtp_1, (22.54,2.72), rotation=pi))
register.add(gdstk.Reference(sky130_fd_sc_hd__tapvpwr, (14.72,2.72)))
register.add(gdstk.Reference(sky130_fd_sc_hd__tapvpwr, (14.72,2.72), x_reflection=True))
register.add(gdstk.Reference(sky130_fd_sc_hd__dfxtp_1, (22.54,2.72)))
register.add(gdstk.Reference(sky130_fd_sc_hd__dfxtp_1, (29.9,2.72), rotation=pi))
register.add(gdstk.Reference(sky130_fd_sc_hd__tapvpwr, (29.9,2.72)))
register.add(gdstk.Reference(sky130_fd_sc_hd__tapvpwr, (29.9,2.72), x_reflection=True))
register.add(gdstk.Label('CLK', (-2.17,3.77), layer=68, texttype=5))
register.add(gdstk.Label('D', (-2.97,2.15), layer=68, texttype=5))
register.add(gdstk.Label('WEN', (-3.48,1.52), layer=68, texttype=5))
register.add(gdstk.Label('Q', (0.3,2.15), layer=68, texttype=5))
register.add(gdstk.Label('VPWR', (20.85,2.72), layer=71, texttype=5))
register.add(gdstk.Label('VGND', (23.85,2.72), layer=71, texttype=5))

register4 = lib.new_cell('register4')
A(register4, met1, -3.61, 1.39, 0.26, 0.26, 1, 4, 0, 5.44)
A(register4, met1, -3.1, 2.02, 0.26, 0.26, 1, 4, 0, 5.44)
A(register4, met1, 0.17, 2.02, 0.26, 0.26, 1, 4, 0, 5.44)
A(register4, met1, -2.3, 3.64, 0.26, 0.26, 1, 4, 0, 5.44)
A(register4, via, -3.555, 1.445, 0.15, 0.15, 1, 4, 0, 5.44)
A(register4, via, -3.045, 2.075, 0.15, 0.15, 1, 4, 0, 5.44)
A(register4, via, 0.225, 2.075, 0.15, 0.15, 1, 4, 0, 5.44)
A(register4, via, -2.245, 3.695, 0.15, 0.15, 1, 4, 0, 5.44)
R(register4, met2_pin, [(-3.65,1.35,-3.31,18.01), (-2.34,21.9,-2,22.26)])
A(register4, met2, -3.14, 1.96, 0.34, 0.38, 1, 4, 0, 5.44)
A(register4, met2, 0.13, 1.98, 0.34, 1.62, 1, 3, 0, 5.44)
R(register4, met2, [(-3.65,1.35,-3.31,18.01), (-2.34,3.6,-2,22.26), (0.13,3.6,12.3,3.8), (12.1,3.8,12.3,22.26), (0.13,9.04,8.16,9.24), (7.96,9.24,8.16,22.26), (0.13,14.48,4.02,14.68), (3.82,14.68,4.02,22.26), (-0.32,18.3,0.47,18.64), (-0.32,18.64,-0.12,22.26)])
A(register4, via2, -3.07, 2.05, 0.2, 0.2, 1, 4, 0, 5.44)
R(register4, met3, [(-3.14,1.98,-0.4,2.32), (-0.7,2.32,-0.4,22.26), (-3.14,7.42,-1.2,7.76), (-1.5,7.76,-1.2,22.26), (-3.14,12.86,-2,13.2), (-2.3,13.2,-2,22.26), (-3.14,18.3,-2.8,22.26)])
A(register4, hvtp, -2.985, 5.25, 0.445, 0.135, 1, 3, 0, 5.44)
A(register4, hvtp, 0.265, 5.355, 0.88, 0.14, 1, 3, 0, 5.44)
A(register4, hvtp, 7.625, 5.355, 0.88, 0.14, 1, 3, 0, 5.44)
A(register4, hvtp, 15.445, 5.355, 0.88, 0.14, 1, 3, 0, 5.44)
A(register4, hvtp, 22.805, 5.355, 0.88, 0.14, 1, 3, 0, 5.44)
A(register4, hvtp, -3.915, 5.385, 0.48, 0.11, 1, 3, 0, 5.44)
A(register4, hvtp, -2.985, 5.385, 2.725, 0.11, 1, 3, 0, 5.44)
A(register4, hvtp, 1.735, 5.385, 3.89, 0.11, 1, 3, 0, 5.44)
A(register4, hvtp, 6.215, 5.385, 0.88, 0.14, 1, 3, 0, 5.44)
A(register4, hvtp, 9.095, 5.385, 3.89, 0.11, 1, 3, 0, 5.44)
A(register4, hvtp, 13.575, 5.385, 0.88, 0.14, 1, 3, 0, 5.44)
A(register4, hvtp, 16.915, 5.385, 3.89, 0.11, 1, 3, 0, 5.44)
A(register4, hvtp, 21.395, 5.385, 0.88, 0.14, 1, 3, 0, 5.44)
A(register4, hvtp, 24.275, 5.385, 3.89, 0.11, 1, 3, 0, 5.44)
A(register4, hvtp, 28.755, 5.385, 0.88, 0.14, 1, 3, 0, 5.44)
A(register4, psdm, -0.015, 5.3, 1.385, 0.03, 1, 3, 0, 5.44)
A(register4, psdm, 7.3, 5.3, 1.43, 0.03, 1, 3, 0, 5.44)
A(register4, psdm, 15.24, 5.3, 1.31, 0.03, 1, 3, 0, 5.44)
A(register4, psdm, 22.48, 5.3, 1.43, 0.03, 1, 3, 0, 5.44)
A(register4, psdm, -4.13, 5.33, 0.9, 0.22, 1, 3, 0, 5.44)
A(register4, psdm, -2.75, 5.33, 17.41, 0.22, 1, 3, 0, 5.44)
A(register4, psdm, 15.24, 5.33, 14.6, 0.22, 1, 3, 0, 5.44)
A(register4, psdm, 5.99, 5.55, 1.43, 0.03, 1, 3, 0, 5.44)
A(register4, psdm, 13.35, 5.55, 1.31, 0.03, 1, 3, 0, 5.44)
A(register4, psdm, 21.17, 5.55, 1.43, 0.03, 1, 3, 0, 5.44)
A(register4, psdm, 28.53, 5.55, 1.31, 0.03, 1, 3, 0, 5.44)
register4.add(gdstk.Reference(register, (0,16.32)))
register4.add(gdstk.Reference(register, (0,10.88)))
register4.add(gdstk.Reference(register, (0,5.44)))
register4.add(gdstk.Reference(register, (0,0)))
register4.add(gdstk.Label('CLK', (-2.17,22.08), layer=69, texttype=5))
register4.add(gdstk.Label('WEN', (-3.48,9.68), layer=69, texttype=5))

lib.write_gds('register4.gds')
